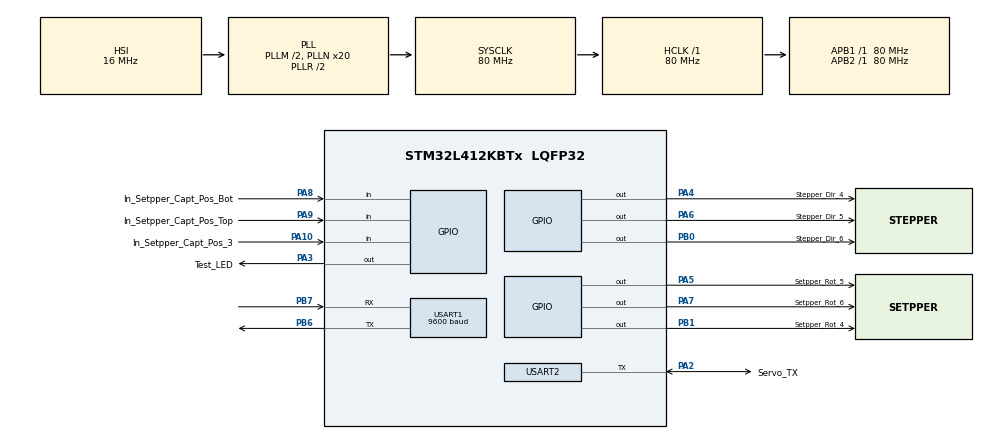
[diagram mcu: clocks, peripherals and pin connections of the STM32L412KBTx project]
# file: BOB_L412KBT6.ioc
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Mcu.Family=STM32L4
Mcu.Name=STM32L412KBTx
Mcu.Package=LQFP32
NVIC.PriorityGroup=NVIC_PRIORITYGROUP_4
NVIC.TIM1_BRK_TIM15_IRQn=true\:0\:0\:false\:false\:true\:true\:true\:true
NVIC.TIM2_IRQn=true\:0\:0\:false\:false\:true\:true\:true\:true
NVIC.TIM6_IRQn=true\:0\:0\:false\:false\:true\:true\:true\:true
NVIC.USART1_IRQn=true\:0\:0\:false\:false\:true\:true\:true\:true
PA10.GPIO_Label=In_Setpper_Capt_Pos_3
PA10.Signal=GPIO_Input
PA13\ (JTMS/SWDIO).Mode=Serial_Wire
PA13\ (JTMS/SWDIO).Signal=SYS_JTMS-SWDIO
PA14\ (JTCK/SWCLK).Mode=Serial_Wire
PA14\ (JTCK/SWCLK).Signal=SYS_JTCK-SWCLK
PA2.GPIO_Label=Servo_TX
PA2.GPIO_ModeDefaultOD=GPIO_MODE_AF_PP
PA2.Mode=Half_duplex(single_wire_mode)
PA2.Signal=USART2_TX
PA3.GPIO_Label=Test_LED
PA3.Signal=GPIO_Output
PA4.GPIO_Label=Stepper_Dir_4
PA4.Signal=GPIO_Output
PA5.GPIO_Label=Setpper_Rot_5
PA5.Signal=GPIO_Output
PA6.GPIO_Label=Stepper_Dir_5
PA6.Signal=GPIO_Output
PA7.GPIO_Label=Setpper_Rot_6
PA7.Signal=GPIO_Output
PA8.GPIO_Label=In_Setpper_Capt_Pos_Bot
PA8.Signal=GPIO_Input
PA9.GPIO_Label=In_Setpper_Capt_Pos_Top
PA9.Signal=GPIO_Input
PB0.GPIO_Label=Stepper_Dir_6
PB0.Signal=GPIO_Output
PB1.GPIO_Label=Setpper_Rot_4
PB1.Signal=GPIO_Output
PB6.Mode=Asynchronous
PB6.Signal=USART1_TX
PB7.Mode=Asynchronous
PB7.Signal=USART1_RX
ProjectManager.HeapSize=0x200
ProjectManager.StackSize=0x400
ProjectManager.TargetToolchain=STM32CubeIDE
RCC.ADCFreq_Value=80000000
RCC.AHBFreq_Value=80000000
RCC.APB1Freq_Value=80000000
RCC.APB1TimFreq_Value=80000000
RCC.APB2Freq_Value=80000000
RCC.APB2TimFreq_Value=80000000
RCC.CortexFreq_Value=80000000
RCC.HCLKFreq_Value=80000000
RCC.HSE_VALUE=8000000
RCC.HSI48_VALUE=48000000
RCC.HSI_VALUE=16000000
RCC.LSE_VALUE=32768
RCC.MSI_VALUE=4000000
RCC.PLLM=2
RCC.PLLN=20
RCC.PLLSourceVirtual=RCC_PLLSOURCE_HSI
RCC.SYSCLKFreq_VALUE=80000000
RCC.SYSCLKSource=RCC_SYSCLKSOURCE_PLLCLK
RCC.USBFreq_Value=4000000
RCC.VCOOutputFreq_Value=160000000
TIM1.Period=39
TIM1.Prescaler=1999
TIM2.Period=79
TIM2.Prescaler=1999
TIM6.Period=139
TIM6.Prescaler=1999
USART1.BaudRate=9600
USART1.VirtualMode-Asynchronous=VM_ASYNC
USART2.BaudRate=1000000
USART2.VirtualMode-Half_duplex(single_wire_mode)=VM_ASYNC
VP_TIM1_VS_ClockSourceINT.Mode=Internal
VP_TIM2_VS_ClockSourceINT.Mode=Internal
VP_TIM6_VS_ClockSourceINT.Mode=Enable_Timer
board=custom

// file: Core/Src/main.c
/* USER CODE BEGIN Header */
/**
 ******************************************************************************
 * @file           : main.c
 * @brief          : Main program body
 ******************************************************************************
 * @attention
 *
 * Copyright (c) 2023 STMicroelectronics.
 * All rights reserved.
 *
 * This software is licensed under terms that can be found in the LICENSE file
 * in the root directory of this software component.
 * If no LICENSE file comes with this software, it is provided AS-IS.
 *
 ******************************************************************************
 */
/* USER CODE END Header */
#include "main.h"
#include "tim.h"
#include "usart.h"
#include "gpio.h"

/* USER CODE BEGIN Includes */
#include "motor.h"
#include "xl320.h"
/* USER CODE END Includes */

void SystemClock_Config(void);

/* USER CODE BEGIN 0 */
uint8_t UART1_rxBuffer[9]={0};
//mettre une taille de tableau de 10
uint8_t flag = 0;
uint8_t motor = 0;
uint16_t angle = 0;
uint8_t dir = 0;
uint8_t speed = 0;
uint16_t position_x = 0;
uint16_t position_y = 0;
uint16_t position_z = 0;

/**
 * @brief Fonction de rappel pour l'interruption de réception UART.
 *
 * Cette fonction est appelée par la fonction HAL_UART_IRQHandler() lorsqu'une interruption de réception UART
 * est déclenchée. Elle traite les données reçues et effectue les actions appropriées en fonction des données reçues.
 *
 * @param huart Pointeur vers la structure de gestion UART
 *
 * @return Void
 */
void HAL_UART_RxCpltCallback(UART_HandleTypeDef *huart)
{
	if(huart->Instance==USART1)
	{
		flag = 1;
		HAL_UART_Receive_IT(&huart1, UART1_rxBuffer, 9);

	}
}

/**
 * @brief Fonction de rappel pour l'interruption de période de temporisation (Timer).
 *
 * Cette fonction est appelée par la fonction HAL_TIM_IRQHandler() lorsqu'une interruption de période de temporisation
 * est déclenchée. Elle vérifie les instances des Timers pour déterminer quelle action doit être effectuée en fonction
 * de la valeur de la variable "speed".
 *
 * @param htim Pointeur vers la structure de gestion Timer
 *
 * @return Void
 */
void HAL_TIM_PeriodElapsedCallback(TIM_HandleTypeDef *htim)
{
	if (htim->Instance == TIM1)
	{
		if(speed == 1){
			motor_irq_cb(motor,dir);
		}
	}
	if (htim->Instance == TIM2){
		if(speed == 2){
			motor_irq_cb(motor,dir);
		}
	}
	if (htim->Instance == TIM6)
	{
		if(speed == 3){
			motor_irq_cb(motor,dir);
		}
	}
}

/* USER CODE END 0 */

int main(void)
{

  /* MCU Configuration--------------------------------------------------------*/

  /* Reset of all peripherals, Initializes the Flash interface and the Systick. */
  HAL_Init();

  /* Configure the system clock */
  SystemClock_Config();

  /* Initialize all configured peripherals */
  MX_GPIO_Init();
  MX_USART2_UART_Init();
  MX_USART1_UART_Init();
  MX_TIM1_Init();
  MX_TIM2_Init();
  MX_TIM6_Init();
  /* USER CODE BEGIN 2 */
	HAL_UART_Receive_IT(&huart1, UART1_rxBuffer, 9);
	HAL_TIM_Base_Start_IT(&htim1);
	HAL_TIM_Base_Start_IT(&htim2);
	HAL_TIM_Base_Start_IT(&htim6);

	//Servomotor
	xl320_write8(254,25,2);  //Allume LED
	//HAL_Delay(500);
	//xl320_write8(254,25,0); //Eteind LED
	HAL_Delay(500);
	xl320_write8(254,11,2); //Control Mode : -JointMode2
	xl320_write16(254,35,1023);//Torque Limit
	xl320_write8(254,24,1); //Torque Enable
	xl320_write8(254,3,3); //Set ID can only be written to if Torque Enable(24) is cleared to ‘0’(Torque OFF)
	HAL_Delay(500);
	xl320_write16(254,32,300);//Moving Speed
	xl320_write16(1,30,512); //test sm1  780 open, 480 close 415 410 max
	xl320_write16(2,30,512); //test sm2
	xl320_write16(3,30,512); //test sm3
	HAL_Delay(500);
  /* USER CODE END 2 */

  /* Infinite loop */
  /* USER CODE BEGIN WHILE */
	while (1)
	{
		/**
		 * @brief Fonction de rappel pour l'interruption de réception UART.
		 *
		 * Cette fonction est appelée par la fonction HAL_UART_IRQHandler() lorsqu'une interruption de réception UART
		 * est déclenchée. Elle traite les données reçues et effectue les actions appropriées en fonction des données reçues.
		 *
		 * @param huart Pointeur vers la structure de gestion UART
		 *
		 * @return Aucun
		 */
		if(flag)
		{
			flag = 0;
			motor_reset();
			HAL_UART_Transmit(&huart1, UART1_rxBuffer,9, 100);

			if((UART1_rxBuffer[0] == 255) && (UART1_rxBuffer[1] == 255))
			{
				motor = UART1_rxBuffer[2];
				angle = (UART1_rxBuffer[3]<<8)+ UART1_rxBuffer[4];
				dir = UART1_rxBuffer[5];
				speed = UART1_rxBuffer[6];

				motor_dir(dir,motor,angle); // Direction, Mouvement
				//motor_set(angle);
				// pour rest le moteur 4 depuis le fin de course top, mettre angle = 105° et dir = 1

				servomotor_com(motor, angle, dir, speed);

				/* Direction des moteurs
				 * Motor 1 (Clamp) : 0 -> close
				 * 					 1 -> open
				 * Motor 2 (Wirst_Z) : 0 -> left
				 * 					   1 -> right
				 * Motor 3 (Wirst_X) : 0 -> down
				 * 					   1 -> up
				 * Motor 4 (Elbow) : 0 -> up
				 * 					 1 -> down
				 */

			}
			else
			{
				// Commande non valide
				// Allumer une led warning?

				// Ecrire un message d'erreur quelque part?
			}

		}

		xl320_write8(1,25,5); //Change couleur de LED //Address 1, 254 étant celle de Broadcast Yellow
		xl320_write8(2,25,5); //Cyan
		xl320_write8(3,25,5); // Purple

//		if (HAL_GPIO_ReadPin(In_Setpper_Capt_Pos_Top_GPIO_Port,In_Setpper_Capt_Pos_Top_Pin) == 0){ // Lumière rouge moteur mauvaise position.
//			xl320_write8(254,25,1);
//		}
//		if (HAL_GPIO_ReadPin(In_Setpper_Capt_Pos_Bot_GPIO_Port,In_Setpper_Capt_Pos_Bot_Pin) == 0){
//			xl320_write8(254,25,1);
//			}

		//				xl320_write16(254,30,400); // Goal Position
		//xl320_write16(1,30,492);
	  		/*		xl320_write16(1,30,820);
	  				HAL_Delay(1000);
	  				xl320_write16(2,30,200);
	  				HAL_Delay(1000);
	  				xl320_write16(3,30,250);
	  				HAL_Delay(1000);
	  				//xl320_write16(1,30,200);
	  				xl320_write8(254,25,0); //Couleur Led
	  				//xl320_write16(1,30,312);
	  //				xl320_write16(2,30,700); //GOAL Position
	  //				xl320_write16(1,30,532);
	  //				xl320_write16(3,30,450);
	  				xl320_write16(1,30,420);
	  				HAL_Delay(1000);
	  				xl320_write16(2,30,800);
	  				HAL_Delay(1000);
	  				xl320_write16(3,30,850);
		 HAL_Delay(500);
		 xl320_write8(254,25,0); //Couleur Led
		 */HAL_GPIO_TogglePin(Test_LED_GPIO_Port, Test_LED_Pin);
		 HAL_Delay(500);

		 //Demo
//		 xl320_write16(3,32,600);
//		 HAL_Delay(500);
//		 xl320_write16(3,30,1023);
//
//		 xl320_write16(2,30,820);
//		 xl320_write16(1,30,420);
//		 HAL_Delay(1000);
//		 xl320_write16(2,30,204);
//		 HAL_Delay(1000);
//		 xl320_write16(2,30,820);
//		 HAL_Delay(1000);
//		 xl320_write16(1,30,780);
//		 xl320_write16(2,30,204);
//
//		 xl320_write16(3,30,100);
//		 HAL_Delay(1000);

    /* USER CODE END WHILE */

	}
}

void SystemClock_Config(void)
{
  RCC_OscInitTypeDef RCC_OscInitStruct = {0};
  RCC_ClkInitTypeDef RCC_ClkInitStruct = {0};

  /** Configure the main internal regulator output voltage
  */
  if (HAL_PWREx_ControlVoltageScaling(PWR_REGULATOR_VOLTAGE_SCALE1) != HAL_OK)
  {
    Error_Handler();
  }

  /** Initializes the RCC Oscillators according to the specified parameters
  * in the RCC_OscInitTypeDef structure.
  */
  RCC_OscInitStruct.OscillatorType = RCC_OSCILLATORTYPE_HSI;
  RCC_OscInitStruct.HSIState = RCC_HSI_ON;
  RCC_OscInitStruct.HSICalibrationValue = RCC_HSICALIBRATION_DEFAULT;
  RCC_OscInitStruct.PLL.PLLState = RCC_PLL_ON;
  RCC_OscInitStruct.PLL.PLLSource = RCC_PLLSOURCE_HSI;
  RCC_OscInitStruct.PLL.PLLM = 2;
  RCC_OscInitStruct.PLL.PLLN = 20;
  RCC_OscInitStruct.PLL.PLLQ = RCC_PLLQ_DIV2;
  RCC_OscInitStruct.PLL.PLLR = RCC_PLLR_DIV2;
  if (HAL_RCC_OscConfig(&RCC_OscInitStruct) != HAL_OK)
  {
    Error_Handler();
  }

  /** Initializes the CPU, AHB and APB buses clocks
  */
  RCC_ClkInitStruct.ClockType = RCC_CLOCKTYPE_HCLK|RCC_CLOCKTYPE_SYSCLK
                              |RCC_CLOCKTYPE_PCLK1|RCC_CLOCKTYPE_PCLK2;
  RCC_ClkInitStruct.SYSCLKSource = RCC_SYSCLKSOURCE_PLLCLK;
  RCC_ClkInitStruct.AHBCLKDivider = RCC_SYSCLK_DIV1;
  RCC_ClkInitStruct.APB1CLKDivider = RCC_HCLK_DIV1;
  RCC_ClkInitStruct.APB2CLKDivider = RCC_HCLK_DIV1;

  if (HAL_RCC_ClockConfig(&RCC_ClkInitStruct, FLASH_LATENCY_4) != HAL_OK)
  {
    Error_Handler();
  }
}

void Error_Handler(void)
{
	__disable_irq();
	while (1)
	{
	}
}
